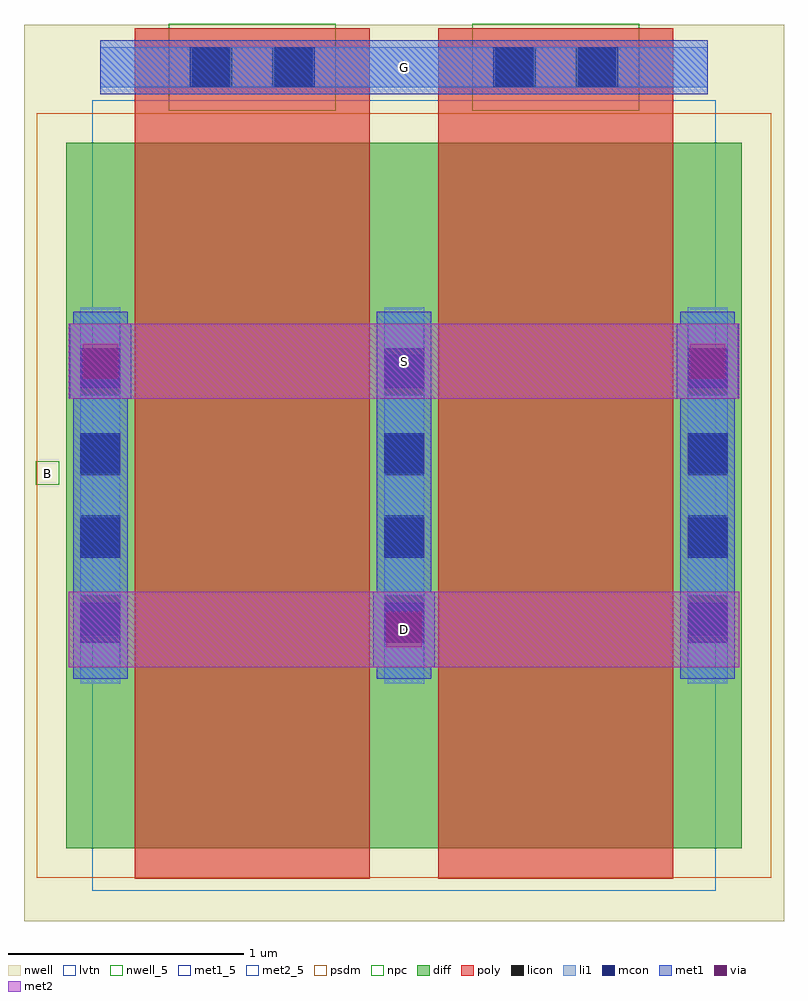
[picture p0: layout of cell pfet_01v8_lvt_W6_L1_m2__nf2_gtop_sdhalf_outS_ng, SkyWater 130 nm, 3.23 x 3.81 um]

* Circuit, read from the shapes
.subckt pfet_01v8_lvt_W6_L1_m2__nf2_gtop_sdhalf_outS_ng B D G S
XM1 D G S B sky130_fd_pr__pfet_01v8_lvt w=3 l=1 m=2
.ends

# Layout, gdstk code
import gdstk
lib = gdstk.Library(unit=1e-6, precision=1e-09)
def R(c, l, rs):  # rectangles x0, y0, x1, y1
    for r in rs: c.add(gdstk.rectangle(r[:2], r[2:], *l))
def A(c, l, x, y, w, h, nx, ny, dx, dy):  # array of equal rectangles
    R(c, l, [(x+i*dx, y+j*dy, x+i*dx+w, y+j*dy+h) for i in range(nx) for j in range(ny)])
nwell_5 = (64, 5)
nwell = (64, 20)
diff = (65, 20)
poly = (66, 20)
licon = (66, 44)
li1 = (67, 20)
mcon = (67, 44)
met1_5 = (68, 5)
met1 = (68, 20)
via = (68, 44)
met2_5 = (69, 5)
met2 = (69, 20)
psdm = (94, 20)
npc = (95, 20)
lvtn = (125, 44)

sky130_fd_pr__pfet_01v8_ = lib.new_cell('sky130_fd_pr__pfet_01v8_lvt_QTTQHL')
R(sky130_fd_pr__pfet_01v8_, nwell, [(-1.615,-1.99,1.615,1.82)])
R(sky130_fd_pr__pfet_01v8_, diff, [(-1.435,-1.68,1.435,1.32)])
R(sky130_fd_pr__pfet_01v8_, poly, [(-1.145,-1.81,-0.145,1.805), (0.145,-1.81,1.145,1.805)])
A(sky130_fd_pr__pfet_01v8_, licon, -1.375, -0.775, 0.17, 0.17, 3, 4, 1.29, 0.34)
R(sky130_fd_pr__pfet_01v8_, licon, [(-0.9,1.555,-0.73,1.725), (-0.56,1.555,-0.39,1.725), (0.39,1.555,0.56,1.725), (0.73,1.555,0.9,1.725)])
A(sky130_fd_pr__pfet_01v8_, li1, -1.375, -0.98, 0.17, 1.6, 3, 1, 1.29, 0)
R(sky130_fd_pr__pfet_01v8_, li1, [(-1.29,1.555,1.29,1.725)])
A(sky130_fd_pr__pfet_01v8_, mcon, -1.375, -0.805, 0.17, 0.17, 3, 4, 1.29, 0.36)
R(sky130_fd_pr__pfet_01v8_, mcon, [(-0.91,1.555,-0.74,1.725), (-0.55,1.555,-0.38,1.725), (0.38,1.555,0.55,1.725), (0.74,1.555,0.91,1.725)])
A(sky130_fd_pr__pfet_01v8_, met1, -1.405, -0.96, 0.23, 1.56, 3, 1, 1.29, 0)
R(sky130_fd_pr__pfet_01v8_, met1, [(-1.125,1.525,-0.165,1.555), (0.165,1.525,1.125,1.555), (-1.29,1.555,1.29,1.725), (-1.125,1.725,-0.165,1.755), (0.165,1.725,1.125,1.755)])
R(sky130_fd_pr__pfet_01v8_, psdm, [(-1.56,-1.805,1.56,1.445)])
R(sky130_fd_pr__pfet_01v8_, npc, [(-1,1.455,-0.29,1.825), (0.29,1.455,1,1.825)])
R(sky130_fd_pr__pfet_01v8_, lvtn, [(-1.325,-1.86,1.325,1.5)])
sky130_fd_pr__pfet_01v8_.add(gdstk.Label('D0', (-1.29,-0.18), layer=67, texttype=5))
sky130_fd_pr__pfet_01v8_.add(gdstk.Label('G', (0.645,1.64), layer=67, texttype=5))
sky130_fd_pr__pfet_01v8_.add(gdstk.Label('G', (-0.645,1.64), layer=67, texttype=5))
sky130_fd_pr__pfet_01v8_.add(gdstk.Label('S1', (0,-0.18), layer=67, texttype=5))

pfet_01v8_lvt_w6_l1_m2__ = lib.new_cell('pfet_01v8_lvt_W6_L1_m2__nf2_gtop_sdhalf_outS_ng')
R(pfet_01v8_lvt_w6_l1_m2__, nwell_5, [(0.05,1.855,0.15,1.955)])
R(pfet_01v8_lvt_w6_l1_m2__, nwell, [(0.05,1.855,0.15,1.955)])
R(pfet_01v8_lvt_w6_l1_m2__, met1_5, [(0.325,3.515,2.905,3.745)])
R(pfet_01v8_lvt_w6_l1_m2__, met1, [(1.485,1.08,1.745,1.4), (0.195,2.22,0.455,2.54), (2.775,2.22,3.035,2.54), (0.325,3.515,2.905,3.745)])
R(pfet_01v8_lvt_w6_l1_m2__, via, [(1.54,1.165,1.69,1.315), (0.25,2.305,0.4,2.455), (2.83,2.305,2.98,2.455)])
R(pfet_01v8_lvt_w6_l1_m2__, met2_5, [(0.19,1.08,3.04,1.4), (0.19,2.22,3.04,2.54)])
R(pfet_01v8_lvt_w6_l1_m2__, met2, [(0.19,1.08,3.04,1.4), (0.19,2.22,3.04,2.54)])
pfet_01v8_lvt_w6_l1_m2__.add(gdstk.Reference(sky130_fd_pr__pfet_01v8_, (1.615,1.99)))
pfet_01v8_lvt_w6_l1_m2__.add(gdstk.Label('S', (1.615,2.38), layer=69, texttype=5))
pfet_01v8_lvt_w6_l1_m2__.add(gdstk.Label('D', (1.615,1.24), layer=69, texttype=5))
pfet_01v8_lvt_w6_l1_m2__.add(gdstk.Label('G', (1.615,3.63), layer=68, texttype=5))
pfet_01v8_lvt_w6_l1_m2__.add(gdstk.Label('B', (0.1,1.905), layer=64, texttype=5))

lib.write_gds('pfet_01v8_lvt_W6_L1_m2__nf2_gtop_sdhalf_outS_ng.gds')
